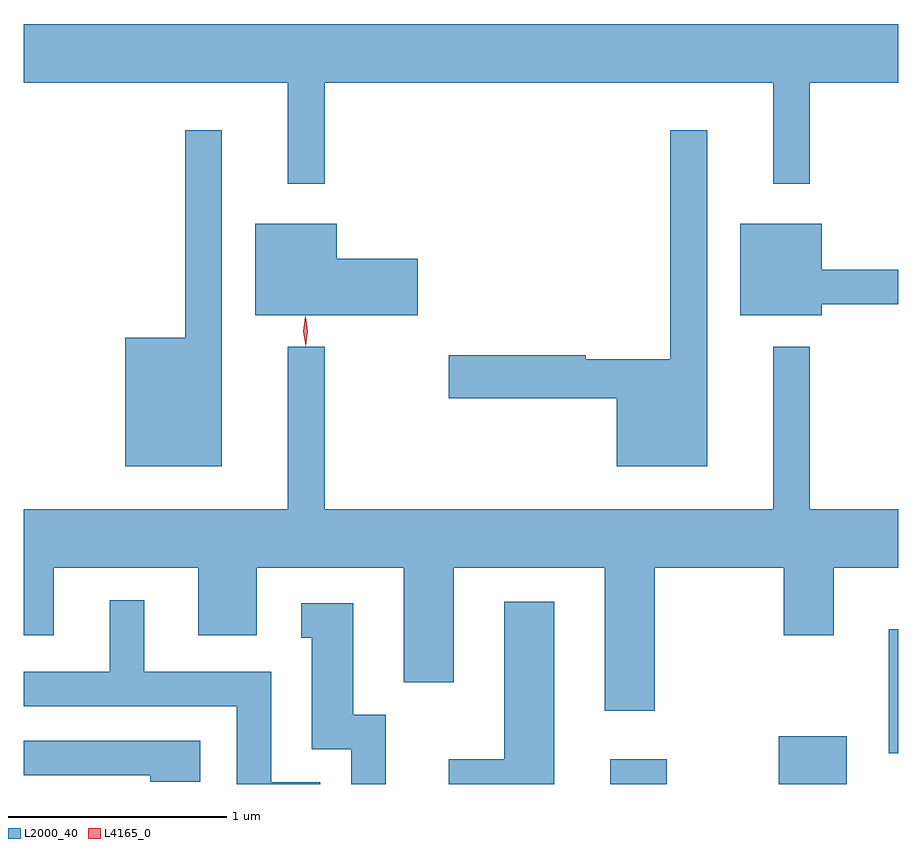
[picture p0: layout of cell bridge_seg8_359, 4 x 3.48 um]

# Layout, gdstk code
import gdstk
lib = gdstk.Library(unit=1e-6, precision=1e-09)
def R(c, l, rs):  # rectangles x0, y0, x1, y1
    for r in rs: c.add(gdstk.rectangle(r[:2], r[2:], *l))
def P(c, l, *ps):  # polygons
    for p in ps: c.add(gdstk.Polygon(p, *l))
L2000_40 = (2000, 40)
L4165_0 = (4165, 0)

bridge_seg8_359 = lib.new_cell('bridge_seg8_359')
R(bridge_seg8_359, L2000_40, [(764.346,1922.006,764.604,1922.119), (765.116,1922.006,765.429,1922.224), (765.621,1922.146,765.663,1922.714)])
P(bridge_seg8_359, L2000_40, [(763.039,1925.216),(765.091,1925.216),(765.091,1924.753),(765.259,1924.753),(765.259,1925.216),(765.663,1925.216),(765.663,1925.484),(761.663,1925.484),(761.663,1925.216),(762.871,1925.216),(762.871,1924.753),(763.039,1924.753)],
  [(762.569,1924.998),(762.401,1924.998),(762.401,1924.049),(762.126,1924.049),(762.126,1923.461),(762.569,1923.461)],
  [(764.789,1924.998),(764.621,1924.998),(764.621,1923.949),(764.234,1923.949),(764.234,1923.969),(763.606,1923.969),(763.606,1923.771),(764.376,1923.771),(764.376,1923.461),(764.789,1923.461)],
  [(765.314,1924.201),(765.663,1924.201),(765.663,1924.359),(765.314,1924.359),(765.314,1924.569),(764.941,1924.569),(764.941,1924.151),(765.314,1924.151)],
  [(763.464,1924.409),(763.094,1924.409),(763.094,1924.569),(762.721,1924.569),(762.721,1924.151),(763.464,1924.151)],
  [(764.549,1922.996),(765.141,1922.996),(765.141,1922.686),(765.369,1922.686),(765.369,1922.996),(765.663,1922.996),(765.663,1923.264),(765.259,1923.264),(765.259,1924.008),(765.091,1924.008),(765.091,1923.264),(763.039,1923.264),(763.039,1924.008),(762.871,1924.008),(762.871,1923.264),(761.663,1923.264),(761.663,1922.686),(761.799,1922.686),(761.799,1922.996),(762.461,1922.996),(762.461,1922.686),(762.729,1922.686),(762.729,1922.996),(763.401,1922.996),(763.401,1922.471),(763.629,1922.471),(763.629,1922.996),(764.321,1922.996),(764.321,1922.341),(764.549,1922.341)],
  [(763.018,1922.014),(762.794,1922.014),(762.794,1922.519),(762.214,1922.519),(762.214,1922.848),(762.056,1922.848),(762.056,1922.519),(761.663,1922.519),(761.663,1922.361),(762.636,1922.361),(762.636,1922.006),(763.018,1922.006)],
  [(764.089,1922.839),(763.861,1922.839),(763.861,1922.119),(763.606,1922.119),(763.606,1922.006),(764.089,1922.006)],
  [(763.319,1922.324),(763.169,1922.324),(763.169,1922.834),(762.933,1922.834),(762.933,1922.676),(762.981,1922.676),(762.981,1922.166),(763.161,1922.166),(763.161,1922.006),(763.319,1922.006)],
  [(762.469,1922.204),(761.663,1922.204),(761.663,1922.046),(762.241,1922.046),(762.241,1922.016),(762.469,1922.016)])
P(bridge_seg8_359, L4165_0, [(762.952,1924.013),(762.952,1924.013),(762.942,1924.076),(762.951,1924.139),(762.952,1924.14),(762.952,1924.139),(762.962,1924.076),(762.953,1924.013)],
  [(762.952,1924.01),(762.952,1924.01),(762.942,1924.078),(762.951,1924.145),(762.952,1924.146),(762.952,1924.145),(762.962,1924.078),(762.953,1924.01)])

lib.write_gds('bridge_seg8_359.gds')
